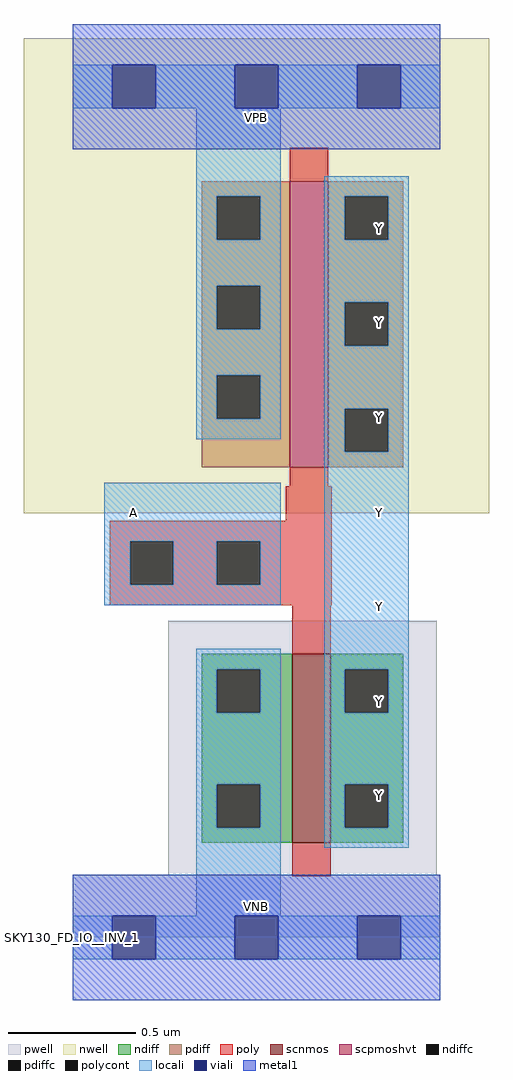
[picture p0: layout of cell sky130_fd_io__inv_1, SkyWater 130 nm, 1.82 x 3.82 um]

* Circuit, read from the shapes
.subckt sky130_fd_io__inv_1 VNB VPB VPWR VGND Y A
XM1 Y A VGND VNB sky130_fd_pr__nfet_01v8 w=0.74 l=0.15
XM2 Y A VPWR VPB sky130_fd_pr__pfet_01v8_hvt w=1.12 l=0.15
.ends

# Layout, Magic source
magic
tech sky130A
magscale 1 2
<< nwell >>
rect -38 332 326 704
<< pwell >>
rect 75 49 285 248
rect 0 0 288 49
<< scnmos >>
rect 172 74 202 222
<< scpmoshvt >>
rect 170 368 200 592
<< ndiff >>
rect 101 210 172 222
rect 101 176 113 210
rect 147 176 172 210
rect 101 120 172 176
rect 101 86 113 120
rect 147 86 172 120
rect 101 74 172 86
rect 202 210 259 222
rect 202 176 213 210
rect 247 176 259 210
rect 202 120 259 176
rect 202 86 213 120
rect 247 86 259 120
rect 202 74 259 86
<< pdiff >>
rect 101 580 170 592
rect 101 546 113 580
rect 147 546 170 580
rect 101 510 170 546
rect 101 476 113 510
rect 147 476 170 510
rect 101 440 170 476
rect 101 406 113 440
rect 147 406 170 440
rect 101 368 170 406
rect 200 580 259 592
rect 200 546 213 580
rect 247 546 259 580
rect 200 497 259 546
rect 200 463 213 497
rect 247 463 259 497
rect 200 414 259 463
rect 200 380 213 414
rect 247 380 259 414
rect 200 368 259 380
<< ndiffc >>
rect 113 176 147 210
rect 113 86 147 120
rect 213 176 247 210
rect 213 86 247 120
<< pdiffc >>
rect 113 546 147 580
rect 113 476 147 510
rect 113 406 147 440
rect 213 546 247 580
rect 213 463 247 497
rect 213 380 247 414
<< poly >>
rect 170 592 200 618
rect 170 353 200 368
rect 167 326 203 353
rect 29 310 203 326
rect 29 276 45 310
rect 79 276 113 310
rect 147 276 203 310
rect 29 260 203 276
rect 172 222 202 260
rect 172 48 202 74
<< polycont >>
rect 45 276 79 310
rect 113 276 147 310
<< locali >>
rect 0 649 31 683
rect 65 649 127 683
rect 161 649 223 683
rect 257 649 288 683
rect 97 580 163 649
rect 97 546 113 580
rect 147 546 163 580
rect 97 510 163 546
rect 97 476 113 510
rect 147 476 163 510
rect 97 440 163 476
rect 97 406 113 440
rect 147 406 163 440
rect 97 390 163 406
rect 197 580 263 596
rect 197 546 213 580
rect 247 546 263 580
rect 197 497 263 546
rect 197 463 213 497
rect 247 463 263 497
rect 197 414 263 463
rect 197 380 213 414
rect 247 380 263 414
rect 25 310 163 356
rect 25 276 45 310
rect 79 276 113 310
rect 147 276 163 310
rect 25 260 163 276
rect 97 210 163 226
rect 97 176 113 210
rect 147 176 163 210
rect 97 120 163 176
rect 97 86 113 120
rect 147 86 163 120
rect 97 17 163 86
rect 197 210 263 380
rect 197 176 213 210
rect 247 176 263 210
rect 197 120 263 176
rect 197 86 213 120
rect 247 86 263 120
rect 197 70 263 86
rect 0 -17 31 17
rect 65 -17 127 17
rect 161 -17 223 17
rect 257 -17 288 17
<< viali >>
rect 31 649 65 683
rect 127 649 161 683
rect 223 649 257 683
rect 31 -17 65 17
rect 127 -17 161 17
rect 223 -17 257 17
<< metal1 >>
rect 0 683 288 715
rect 0 649 31 683
rect 65 649 127 683
rect 161 649 223 683
rect 257 649 288 683
rect 0 617 288 649
rect 0 17 288 49
rect 0 -17 31 17
rect 65 -17 127 17
rect 161 -17 223 17
rect 257 -17 288 17
rect 0 -49 288 -17
<< labels >>
rlabel comment s 0 0 0 0 4 SKY130_FD_IO__INV_1
flabel pwell s 0 0 288 49 0 FreeSans 200 0 0 0 VNB
port 1 nsew
flabel nwell s 0 617 288 666 0 FreeSans 200 0 0 0 VPB
port 2 nsew
flabel metal1 s 0 617 288 666 0 FreeSans 340 0 0 0 VPWR
port 3 nsew
flabel metal1 s 0 0 288 49 0 FreeSans 340 0 0 0 VGND
port 4 nsew
flabel locali s 223 94 257 128 0 FreeSans 340 0 0 0 Y
port 5 nsew
flabel locali s 223 168 257 202 0 FreeSans 340 0 0 0 Y
port 5 nsew
flabel locali s 223 242 257 276 0 FreeSans 340 0 0 0 Y
port 5 nsew
flabel locali s 223 316 257 350 0 FreeSans 340 0 0 0 Y
port 5 nsew
flabel locali s 223 390 257 424 0 FreeSans 340 0 0 0 Y
port 5 nsew
flabel locali s 223 464 257 498 0 FreeSans 340 0 0 0 Y
port 5 nsew
flabel locali s 223 538 257 572 0 FreeSans 340 0 0 0 Y
port 5 nsew
flabel locali s 31 316 65 350 0 FreeSans 340 0 0 0 A
port 6 nsew
<< properties >>
string FIXED_BBOX 0 0 288 666
string GDS_FILE $PDKPATH/libs.ref/sky130_fd_io/gds/sky130_ef_io__gpiov2_pad_wrapped.gds
string GDS_END 333740
string GDS_START 329858
<< end >>
